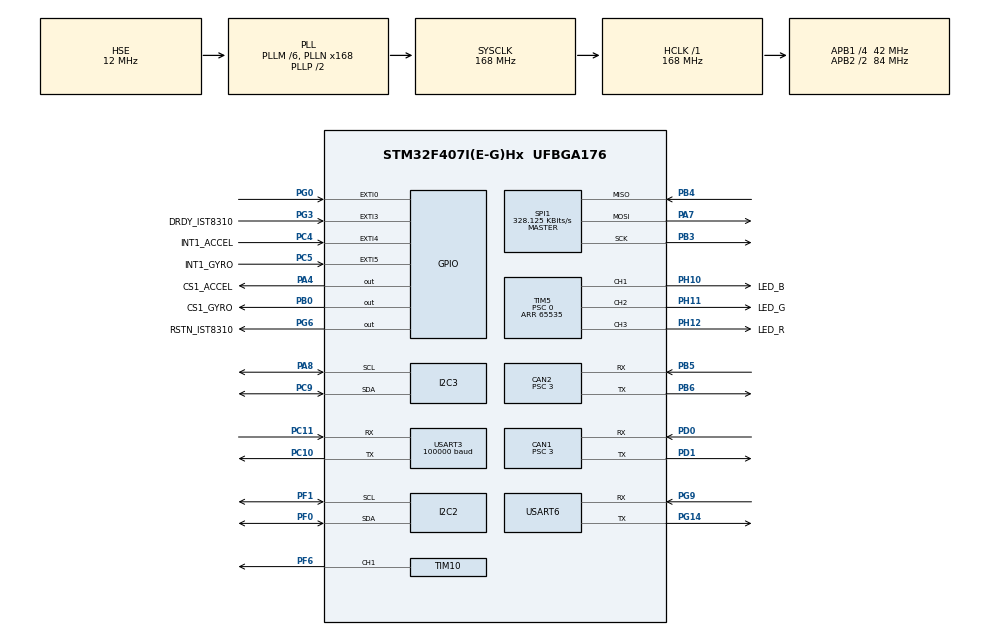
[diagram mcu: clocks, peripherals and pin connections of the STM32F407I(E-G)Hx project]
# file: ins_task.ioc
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CAN1.BS1=CAN_BS1_10TQ
CAN1.BS2=CAN_BS2_3TQ
CAN1.CalculateBaudRate=1000000
CAN1.CalculateTimeBit=1000
CAN1.CalculateTimeQuantum=71.42857142857143
CAN1.Prescaler=3
CAN2.BS1=CAN_BS1_10TQ
CAN2.BS2=CAN_BS2_3TQ
CAN2.CalculateBaudRate=1000000
CAN2.CalculateTimeBit=1000
CAN2.CalculateTimeQuantum=71.42857142857143
CAN2.Prescaler=3
Dma.Request0=SPI1_RX
Dma.Request1=SPI1_TX
Dma.Request2=USART6_RX
Dma.Request3=USART6_TX
Dma.Request4=USART3_RX
Dma.SPI1_RX.0.Direction=DMA_PERIPH_TO_MEMORY
Dma.SPI1_RX.0.FIFOMode=DMA_FIFOMODE_DISABLE
Dma.SPI1_RX.0.Instance=DMA2_Stream2
Dma.SPI1_RX.0.MemDataAlignment=DMA_MDATAALIGN_BYTE
Dma.SPI1_RX.0.MemInc=DMA_MINC_ENABLE
Dma.SPI1_RX.0.Mode=DMA_NORMAL
Dma.SPI1_RX.0.PeriphDataAlignment=DMA_PDATAALIGN_BYTE
Dma.SPI1_RX.0.PeriphInc=DMA_PINC_DISABLE
Dma.SPI1_RX.0.Priority=DMA_PRIORITY_VERY_HIGH
Dma.SPI1_TX.1.Direction=DMA_MEMORY_TO_PERIPH
Dma.SPI1_TX.1.FIFOMode=DMA_FIFOMODE_DISABLE
Dma.SPI1_TX.1.Instance=DMA2_Stream3
Dma.SPI1_TX.1.MemDataAlignment=DMA_MDATAALIGN_BYTE
Dma.SPI1_TX.1.MemInc=DMA_MINC_ENABLE
Dma.SPI1_TX.1.Mode=DMA_NORMAL
Dma.SPI1_TX.1.PeriphDataAlignment=DMA_PDATAALIGN_BYTE
Dma.SPI1_TX.1.PeriphInc=DMA_PINC_DISABLE
Dma.SPI1_TX.1.Priority=DMA_PRIORITY_HIGH
Dma.USART3_RX.4.Direction=DMA_PERIPH_TO_MEMORY
Dma.USART3_RX.4.FIFOMode=DMA_FIFOMODE_DISABLE
Dma.USART3_RX.4.Instance=DMA1_Stream1
Dma.USART3_RX.4.MemDataAlignment=DMA_MDATAALIGN_BYTE
Dma.USART3_RX.4.MemInc=DMA_MINC_ENABLE
Dma.USART3_RX.4.Mode=DMA_CIRCULAR
Dma.USART3_RX.4.PeriphDataAlignment=DMA_PDATAALIGN_BYTE
Dma.USART3_RX.4.PeriphInc=DMA_PINC_DISABLE
Dma.USART3_RX.4.Priority=DMA_PRIORITY_VERY_HIGH
Dma.USART6_RX.2.Direction=DMA_PERIPH_TO_MEMORY
Dma.USART6_RX.2.FIFOMode=DMA_FIFOMODE_DISABLE
Dma.USART6_RX.2.Instance=DMA2_Stream1
Dma.USART6_RX.2.MemDataAlignment=DMA_MDATAALIGN_BYTE
Dma.USART6_RX.2.MemInc=DMA_MINC_ENABLE
Dma.USART6_RX.2.Mode=DMA_NORMAL
Dma.USART6_RX.2.PeriphDataAlignment=DMA_PDATAALIGN_BYTE
Dma.USART6_RX.2.PeriphInc=DMA_PINC_DISABLE
Dma.USART6_RX.2.Priority=DMA_PRIORITY_LOW
Dma.USART6_TX.3.Direction=DMA_MEMORY_TO_PERIPH
Dma.USART6_TX.3.FIFOMode=DMA_FIFOMODE_DISABLE
Dma.USART6_TX.3.Instance=DMA2_Stream6
Dma.USART6_TX.3.MemDataAlignment=DMA_MDATAALIGN_BYTE
Dma.USART6_TX.3.MemInc=DMA_MINC_ENABLE
Dma.USART6_TX.3.Mode=DMA_NORMAL
Dma.USART6_TX.3.PeriphDataAlignment=DMA_PDATAALIGN_BYTE
Dma.USART6_TX.3.PeriphInc=DMA_PINC_DISABLE
Dma.USART6_TX.3.Priority=DMA_PRIORITY_LOW
FREERTOS.INCLUDE_eTaskGetState=1
FREERTOS.INCLUDE_pcTaskGetTaskName=1
FREERTOS.INCLUDE_uxTaskGetStackHighWaterMark=1
FREERTOS.INCLUDE_vTaskCleanUpResources=1
FREERTOS.INCLUDE_vTaskDelayUntil=1
FREERTOS.INCLUDE_xEventGroupSetBitFromISR=1
FREERTOS.INCLUDE_xQueueGetMutexHolder=1
FREERTOS.INCLUDE_xSemaphoreGetMutexHolder=1
FREERTOS.INCLUDE_xTaskAbortDelay=1
FREERTOS.INCLUDE_xTaskGetCurrentTaskHandle=1
FREERTOS.INCLUDE_xTaskGetHandle=1
FREERTOS.INCLUDE_xTimerPendFunctionCall=1
FREERTOS.Tasks01=test,24,128,test_task,As weak,NULL,Dynamic,NULL,NULL
FREERTOS.configTOTAL_HEAP_SIZE=24576
I2C2.I2C_Mode=I2C_Fast
I2C3.I2C_Mode=I2C_Fast
Mcu.Family=STM32F4
Mcu.Name=STM32F407I(E-G)Hx
Mcu.Package=UFBGA176
NVIC.CAN1_RX0_IRQn=true\:5\:0\:false\:false\:true\:true\:true\:true\:true
NVIC.CAN2_RX0_IRQn=true\:5\:0\:false\:false\:true\:true\:true\:true\:true
NVIC.DMA1_Stream1_IRQn=true\:5\:0\:false\:false\:true\:true\:false\:true\:true
NVIC.DMA2_Stream1_IRQn=true\:5\:0\:false\:false\:true\:true\:false\:true\:true
NVIC.DMA2_Stream2_IRQn=true\:5\:0\:true\:false\:false\:true\:false\:true\:true
NVIC.DMA2_Stream3_IRQn=true\:5\:0\:true\:false\:false\:true\:false\:true\:true
NVIC.DMA2_Stream6_IRQn=true\:5\:0\:false\:false\:true\:true\:false\:true\:true
NVIC.EXTI0_IRQn=true\:6\:0\:true\:false\:true\:true\:true\:true\:true
NVIC.EXTI3_IRQn=true\:5\:0\:true\:false\:true\:true\:true\:true\:true
NVIC.EXTI4_IRQn=true\:5\:0\:true\:false\:true\:true\:true\:true\:true
NVIC.EXTI9_5_IRQn=true\:5\:0\:true\:false\:true\:true\:true\:true\:true
NVIC.PriorityGroup=NVIC_PRIORITYGROUP_4
NVIC.USART3_IRQn=true\:5\:0\:false\:false\:true\:true\:true\:true\:true
NVIC.USART6_IRQn=true\:5\:0\:false\:false\:true\:true\:true\:true\:true
PA13.Mode=Serial_Wire
PA13.Signal=SYS_JTMS-SWDIO
PA14.Mode=Serial_Wire
PA14.Signal=SYS_JTCK-SWCLK
PA4.GPIO_Label=CS1_ACCEL
PA4.GPIO_PuPd=GPIO_PULLUP
PA4.GPIO_Speed=GPIO_SPEED_FREQ_HIGH
PA4.PinState=GPIO_PIN_SET
PA4.Signal=GPIO_Output
PA7.GPIO_PuPd=GPIO_PULLUP
PA7.Mode=Full_Duplex_Master
PA7.Signal=SPI1_MOSI
PA8.GPIO_Pu=GPIO_PULLUP
PA8.Mode=I2C
PA8.Signal=I2C3_SCL
PB0.GPIO_Label=CS1_GYRO
PB0.GPIO_PuPd=GPIO_PULLUP
PB0.GPIO_Speed=GPIO_SPEED_FREQ_HIGH
PB0.PinState=GPIO_PIN_SET
PB0.Signal=GPIO_Output
PB3.GPIO_PuPd=GPIO_PULLUP
PB3.Mode=Full_Duplex_Master
PB3.Signal=SPI1_SCK
PB4.GPIO_PuPd=GPIO_PULLUP
PB4.Mode=Full_Duplex_Master
PB4.Signal=SPI1_MISO
PB5.Mode=CAN_Activate
PB5.Signal=CAN2_RX
PB6.Mode=CAN_Activate
PB6.Signal=CAN2_TX
PC10.Mode=Asynchronous
PC10.Signal=USART3_TX
PC11.Mode=Asynchronous
PC11.Signal=USART3_RX
PC4.GPIO_Label=INT1_ACCEL
PC4.GPIO_ModeDefaultEXTI=GPIO_MODE_IT_FALLING
PC4.GPIO_PuPd=GPIO_PULLUP
PC4.Signal=GPXTI4
PC5.GPIO_Label=INT1_GYRO
PC5.GPIO_ModeDefaultEXTI=GPIO_MODE_IT_FALLING
PC5.GPIO_PuPd=GPIO_PULLUP
PC5.Signal=GPXTI5
PC9.GPIO_Pu=GPIO_PULLUP
PC9.Mode=I2C
PC9.Signal=I2C3_SDA
PD0.Mode=CAN_Activate
PD0.Signal=CAN1_RX
PD1.Mode=CAN_Activate
PD1.Signal=CAN1_TX
PF0.Mode=I2C
PF0.Signal=I2C2_SDA
PF1.Mode=I2C
PF1.Signal=I2C2_SCL
PF6.GPIO_PuPd=GPIO_PULLUP
PF6.GPIO_Speed=GPIO_SPEED_FREQ_HIGH
PF6.Signal=S_TIM10_CH1
PG0.GPIO_ModeDefaultEXTI=GPIO_MODE_IT_FALLING
PG0.GPIO_PuPd=GPIO_PULLUP
PG0.Signal=GPXTI0
PG14.Mode=Asynchronous
PG14.Signal=USART6_TX
PG3.GPIO_Label=DRDY_IST8310
PG3.GPIO_ModeDefaultEXTI=GPIO_MODE_IT_FALLING
PG3.GPIO_PuPd=GPIO_PULLUP
PG3.Signal=GPXTI3
PG6.GPIO_Label=RSTN_IST8310
PG6.GPIO_PuPd=GPIO_PULLUP
PG6.GPIO_Speed=GPIO_SPEED_FREQ_MEDIUM
PG6.PinState=GPIO_PIN_SET
PG6.Signal=GPIO_Output
PG9.Mode=Asynchronous
PG9.Signal=USART6_RX
PH0-OSC_IN.Mode=HSE-External-Oscillator
PH0-OSC_IN.Signal=RCC_OSC_IN
PH1-OSC_OUT.Mode=HSE-External-Oscillator
PH1-OSC_OUT.Signal=RCC_OSC_OUT
PH10.GPIO_Label=LED_B
PH10.GPIO_PuPd=GPIO_PULLUP
PH10.GPIO_Speed=GPIO_SPEED_FREQ_HIGH
PH10.Signal=S_TIM5_CH1
PH11.GPIO_Label=LED_G
PH11.GPIO_PuPd=GPIO_PULLUP
PH11.GPIO_Speed=GPIO_SPEED_FREQ_HIGH
PH11.Signal=S_TIM5_CH2
PH12.GPIO_Label=LED_R
PH12.GPIO_PuPd=GPIO_PULLUP
PH12.GPIO_Speed=GPIO_SPEED_FREQ_HIGH
PH12.Signal=S_TIM5_CH3
ProjectManager.HeapSize=0x2000
ProjectManager.StackSize=0x2000
ProjectManager.TargetToolchain=CMake
RCC.48MHZClocksFreq_Value=48000000
RCC.AHBFreq_Value=168000000
RCC.APB1CLKDivider=RCC_HCLK_DIV4
RCC.APB1Freq_Value=42000000
RCC.APB1TimFreq_Value=84000000
RCC.APB2CLKDivider=RCC_HCLK_DIV2
RCC.APB2Freq_Value=84000000
RCC.APB2TimFreq_Value=168000000
RCC.CortexFreq_Value=168000000
RCC.HCLKFreq_Value=168000000
RCC.HSE_VALUE=12000000
RCC.HSI_VALUE=16000000
RCC.LSE_VALUE=32768
RCC.PLLM=6
RCC.PLLN=168
RCC.PLLQ=7
RCC.PLLSourceVirtual=RCC_PLLSOURCE_HSE
RCC.RCC_RTC_Clock_SourceVirtual=RCC_RTCCLKSOURCE_HSE_DIV30
RCC.RCC_RTC_Clock_Source_FROM_HSE=RCC_RTCCLKSOURCE_HSE_DIV30
RCC.SYSCLKFreq_VALUE=168000000
RCC.SYSCLKSource=RCC_SYSCLKSOURCE_PLLCLK
RCC.VCOOutputFreq_Value=336000000
SH.S_TIM10_CH1.0=TIM10_CH1,PWM Generation1 CH1
SH.S_TIM5_CH1.0=TIM5_CH1,PWM Generation1 CH1
SH.S_TIM5_CH2.0=TIM5_CH2,PWM Generation2 CH2
SH.S_TIM5_CH3.0=TIM5_CH3,PWM Generation3 CH3
SPI1.BaudRatePrescaler=SPI_BAUDRATEPRESCALER_256
SPI1.CLKPhase=SPI_PHASE_2EDGE
SPI1.CLKPolarity=SPI_POLARITY_HIGH
SPI1.CalculateBaudRate=328.125 KBits/s
SPI1.Direction=SPI_DIRECTION_2LINES
SPI1.Mode=SPI_MODE_MASTER
SPI1.VirtualType=VM_MASTER
TIM10.Channel=TIM_CHANNEL_1
TIM10.Period=4999
TIM5.Channel-PWM\ Generation1\ CH1=TIM_CHANNEL_1
TIM5.Channel-PWM\ Generation2\ CH2=TIM_CHANNEL_2
TIM5.Channel-PWM\ Generation3\ CH3=TIM_CHANNEL_3
TIM5.Period=65535
TIM5.Prescaler=0
USART3.BaudRate=100000
USART3.Mode=MODE_RX
USART3.Parity=PARITY_EVEN
USART3.VirtualMode=VM_ASYNC
USART6.VirtualMode=VM_ASYNC
VP_FREERTOS_VS_CMSIS_V1.Mode=CMSIS_V1
VP_TIM10_VS_ClockSourceINT.Mode=Enable_Timer
VP_TIM5_VS_ClockSourceINT.Mode=Internal
board=custom

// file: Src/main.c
/* USER CODE BEGIN Header */
/**
  ******************************************************************************
  * @file           : main.c
  * @brief          : Main program body
  ******************************************************************************
  * @attention
  *
  * <h2><center>&copy; Copyright (c) 2019 STMicroelectronics.
  * All rights reserved.</center></h2>
  *
  * This software component is licensed by ST under Ultimate Liberty license
  * SLA0044, the "License"; You may not use this file except in compliance with
  * the License. You may obtain a copy of the License at:
  *                             www.st.com/SLA0044
  *
  ******************************************************************************
  */
/* USER CODE END Header */
#include "main.h"
#include "cmsis_os.h"
#include "can.h"
#include "dma.h"
#include "i2c.h"
#include "spi.h"
#include "tim.h"
#include "usart.h"
#include "gpio.h"

/* USER CODE BEGIN Includes */
#include "bsp_delay.h"
#include "all_tou_h.h"
#include "ix6.h"
/* USER CODE END Includes */

void SystemClock_Config(void);
void MX_FREERTOS_Init(void);

int main(void)
{

  /* MCU Configuration--------------------------------------------------------*/

  /* Reset of all peripherals, Initializes the Flash interface and the Systick. */
  HAL_Init();

  /* Configure the system clock */
  SystemClock_Config();

  /* Initialize all configured peripherals */
  MX_GPIO_Init();
  MX_DMA_Init();
  MX_SPI1_Init();
  MX_TIM5_Init();
  MX_I2C3_Init();
  MX_TIM10_Init();
  MX_USART6_UART_Init();
  MX_CAN1_Init();
  MX_CAN2_Init();
  MX_I2C2_Init();
  MX_USART3_UART_Init();
  /* USER CODE BEGIN 2 */
  // HAL_NVIC_SetPriority(USART3_IRQn, 5, 0);
  // HAL_NVIC_EnableIRQ(USART3_IRQn);

  remote_control_init();

  can_filter_init();
    delay_init();
  /* USER CODE END 2 */

  /* Call init function for freertos objects (in cmsis_os2.c) */
  MX_FREERTOS_Init();

  /* Start scheduler */
  osKernelStart();

  /* We should never get here as control is now taken by the scheduler */

  /* Infinite loop */
  while (1)
  {

  }
}

void SystemClock_Config(void)
{
  RCC_OscInitTypeDef RCC_OscInitStruct = {0};
  RCC_ClkInitTypeDef RCC_ClkInitStruct = {0};

  /** Configure the main internal regulator output voltage
  */
  __HAL_RCC_PWR_CLK_ENABLE();
  __HAL_PWR_VOLTAGESCALING_CONFIG(PWR_REGULATOR_VOLTAGE_SCALE1);

  /** Initializes the RCC Oscillators according to the specified parameters
  * in the RCC_OscInitTypeDef structure.
  */
  RCC_OscInitStruct.OscillatorType = RCC_OSCILLATORTYPE_HSE;
  RCC_OscInitStruct.HSEState = RCC_HSE_ON;
  RCC_OscInitStruct.PLL.PLLState = RCC_PLL_ON;
  RCC_OscInitStruct.PLL.PLLSource = RCC_PLLSOURCE_HSE;
  RCC_OscInitStruct.PLL.PLLM = 6;
  RCC_OscInitStruct.PLL.PLLN = 168;
  RCC_OscInitStruct.PLL.PLLP = RCC_PLLP_DIV2;
  RCC_OscInitStruct.PLL.PLLQ = 7;
  if (HAL_RCC_OscConfig(&RCC_OscInitStruct) != HAL_OK)
  {
    Error_Handler();
  }

  /** Initializes the CPU, AHB and APB buses clocks
  */
  RCC_ClkInitStruct.ClockType = RCC_CLOCKTYPE_HCLK|RCC_CLOCKTYPE_SYSCLK
                              |RCC_CLOCKTYPE_PCLK1|RCC_CLOCKTYPE_PCLK2;
  RCC_ClkInitStruct.SYSCLKSource = RCC_SYSCLKSOURCE_PLLCLK;
  RCC_ClkInitStruct.AHBCLKDivider = RCC_SYSCLK_DIV1;
  RCC_ClkInitStruct.APB1CLKDivider = RCC_HCLK_DIV4;
  RCC_ClkInitStruct.APB2CLKDivider = RCC_HCLK_DIV2;

  if (HAL_RCC_ClockConfig(&RCC_ClkInitStruct, FLASH_LATENCY_5) != HAL_OK)
  {
    Error_Handler();
  }
}

void Error_Handler(void)
{
}

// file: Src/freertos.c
/* USER CODE BEGIN Header */
/**
  ******************************************************************************
  * File Name          : freertos.c
  * Description        : Code for freertos applications
  ******************************************************************************
  * @attention
  *
  * <h2><center>&copy; Copyright (c) 2019 STMicroelectronics.
  * All rights reserved.</center></h2>
  *
  * This software component is licensed by ST under Ultimate Liberty license
  * SLA0044, the "License"; You may not use this file except in compliance with
  * the License. You may obtain a copy of the License at:
  *                             www.st.com/SLA0044
  *
  ******************************************************************************
  */
/* USER CODE END Header */

#include "FreeRTOS.h"
#include "task.h"
#include "main.h"
#include "cmsis_os.h"

/* USER CODE BEGIN Includes */

#include "INS_task.h"
#include "gimbal/can2LaunchTransmission .h"
#include "gimbal/gimbal_task.h"
#include "bmi088_date_send.h"
#include "chassis_imu_date.h"
#include "yaw_date_send_task.h"

/* USER CODE END Includes */

/* USER CODE BEGIN PTD */

osThreadId imuTaskHandle;
osThreadId led_RGB_flow_handle;
osThreadId gimbalTaskHandle;
osThreadId LaunchTaskHandle;
osThreadId INS_taskHandle;
osThreadId ChassisImuDateTaskHandle;
osThreadId Bmi088SendTaskHandle;
osThreadId YawDateSendTask;
/* USER CODE END PTD */

osThreadId testHandle;

void test_task(void const * argument);

void MX_FREERTOS_Init(void); /* (MISRA C 2004 rule 8.1) */

/* GetIdleTaskMemory prototype (linked to static allocation support) */
void vApplicationGetIdleTaskMemory( StaticTask_t **ppxIdleTaskTCBBuffer, StackType_t **ppxIdleTaskStackBuffer, uint32_t *pulIdleTaskStackSize );

/* GetTimerTaskMemory prototype (linked to static allocation support) */
void vApplicationGetTimerTaskMemory( StaticTask_t **ppxTimerTaskTCBBuffer, StackType_t **ppxTimerTaskStackBuffer, uint32_t *pulTimerTaskStackSize );

/* USER CODE BEGIN GET_IDLE_TASK_MEMORY */
static StaticTask_t xIdleTaskTCBBuffer;
static StackType_t xIdleStack[configMINIMAL_STACK_SIZE];

void vApplicationGetIdleTaskMemory( StaticTask_t **ppxIdleTaskTCBBuffer, StackType_t **ppxIdleTaskStackBuffer, uint32_t *pulIdleTaskStackSize )
{
  *ppxIdleTaskTCBBuffer = &xIdleTaskTCBBuffer;
  *ppxIdleTaskStackBuffer = &xIdleStack[0];
  *pulIdleTaskStackSize = configMINIMAL_STACK_SIZE;
  /* place for user code */
}
/* USER CODE END GET_IDLE_TASK_MEMORY */

/* USER CODE BEGIN GET_TIMER_TASK_MEMORY */
static StaticTask_t xTimerTaskTCBBuffer;
static StackType_t xTimerStack[configTIMER_TASK_STACK_DEPTH];

void vApplicationGetTimerTaskMemory( StaticTask_t **ppxTimerTaskTCBBuffer, StackType_t **ppxTimerTaskStackBuffer, uint32_t *pulTimerTaskStackSize )
{
  *ppxTimerTaskTCBBuffer = &xTimerTaskTCBBuffer;
  *ppxTimerTaskStackBuffer = &xTimerStack[0];
  *pulTimerTaskStackSize = configTIMER_TASK_STACK_DEPTH;
  /* place for user code */
}
/* USER CODE END GET_TIMER_TASK_MEMORY */

void MX_FREERTOS_Init(void) {

  /* Create the thread(s) */
  /* definition and creation of test */
  // osThreadDef(test, test_task, osPriorityNormal, 0, 128);
  // testHandle = osThreadCreate(osThread(test), NULL);

  /* USER CODE BEGIN RTOS_THREADS */
  /* add threads, ... */
    osThreadDef(imuTask, INS_task, osPriorityRealtime, 0, 512);
    imuTaskHandle = osThreadCreate(osThread(imuTask), NULL);

  osThreadDef(GimbalTask,gimbal_task, osPriorityNormal, 0, 1024);
  gimbalTaskHandle = osThreadCreate(osThread(GimbalTask), NULL);

  osThreadDef(ChassisImuDateTaskHandle,gimbal_receive_task, osPriorityNormal, 0, 512); //ix6遥控数据发送
  ChassisImuDateTaskHandle = osThreadCreate(osThread(ChassisImuDateTaskHandle), NULL);

  osThreadDef(LaunchTask, send_task, osPriorityNormal, 0, 512); //ix6遥控数据发送
  LaunchTaskHandle = osThreadCreate(osThread(LaunchTask), NULL);

  osThreadDef(Bmi088SendTask,imu_date_send_task, osPriorityNormal, 0, 512);
  Bmi088SendTaskHandle = osThreadCreate(osThread(Bmi088SendTask), NULL);

  osThreadDef(YawDateSendTask,yaw_date_send_task, osPriorityNormal, 0, 512);
  YawDateSendTask = osThreadCreate(osThread(YawDateSendTask), NULL);
  /* USER CODE END RTOS_THREADS */

}

__weak void test_task(void const * argument)
{
  for(;;)
  {
    osDelay(1);
  }
}
